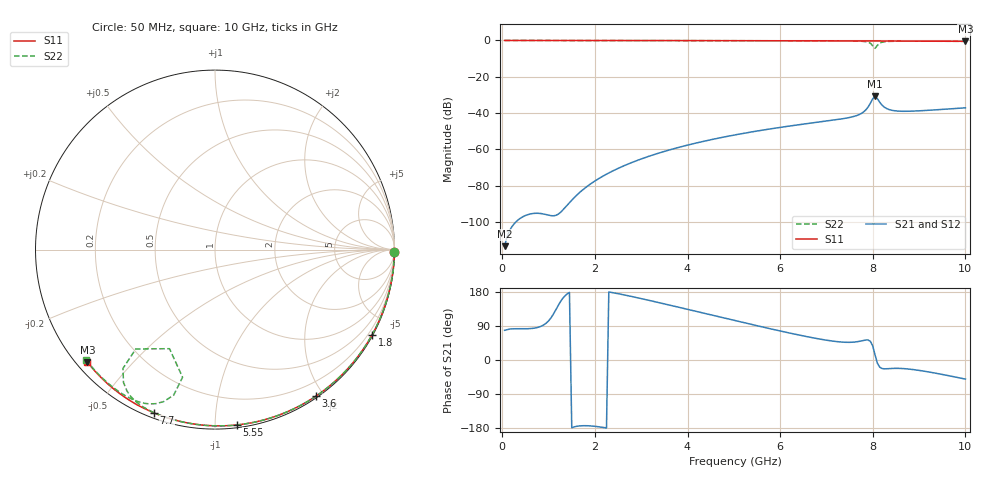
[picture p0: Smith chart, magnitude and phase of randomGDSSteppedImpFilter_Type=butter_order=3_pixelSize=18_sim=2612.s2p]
! freq	dB(S11)	phase(S11)	dB(S12)	phase(S12)
!  dB(S21)	phase(S21)	dB(S22)	phase(S22)
!S-par simulation data
#  GHz  S  DB  R 50
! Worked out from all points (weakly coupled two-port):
!   200 points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, 50 MHz to 10 GHz, reference 50 ohm
!   highest |S21| = -30.87 dB at 8.05 GHz (marker M1); lowest = -113.3 dB at 50 MHz (marker M2)
!   lowest |S11| = -0.5 dB at 10 GHz (marker M3), VSWR 37.08, Z = 1.54 - j18.9 ohm
!   |S11| at or under -10 dB: nowhere
!   |S22| runs from -4.3 to 0.0 dB; largest |S21 - S12| = 0
!   S11 on the Smith chart (normalised r, x): 50 MHz: open; 1.8 GHz: 0.03, -3.95; 3.6 GHz: 0.02, -1.90; 5.55 GHz: 0.02, -1.13; 7.7 GHz: 0.02, -0.69; 10 GHz: 0.03, -0.38
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0.05  -0.00 -0.8  -113.31 78.4  -113.31 78.4  -0.00 -0.8
1.75  -0.04 -27.7  -82.01 -173.3  -82.01 -173.3  -0.04 -28.1
1.8  -0.04 -28.4  -81.00 -173.3  -81.00 -173.3  -0.04 -28.9
1.85  -0.04 -29.2  -80.04 -173.5  -80.04 -173.5  -0.04 -29.7
2.55  -0.05 -39.9  -69.88 173.8  -69.88 173.8  -0.05 -40.6
3.4  -0.07 -52.6  -61.87 150.9  -61.87 150.9  -0.07 -53.5
3.6  -0.07 -55.5  -60.36 145.2  -60.36 145.2  -0.08 -56.5
5.05  -0.12 -76.0  -51.90 103.2  -51.90 103.2  -0.12 -77.5
5.55  -0.14 -82.8  -49.68 89.0  -49.68 89.0  -0.14 -84.5
6.7  -0.19 -97.9  -45.40 58.7  -45.40 58.7  -0.20 -100.4
7.4  -0.23 -106.8  -42.90 46.8  -42.90 46.8  -0.27 -110.8
7.7  -0.26 -110.6  -40.89 49.0  -40.89 49.0  -0.38 -116.8
7.85  -0.27 -112.4  -38.25 52.9  -38.25 52.9  -0.65 -121.9
7.95  -0.28 -113.6  -34.51 49.0  -34.51 49.0  -1.55 -127.8
8  -0.28 -114.2  -32.08 36.8  -32.08 36.8  -3.00 -128.6
8.05  -0.28 -114.8  -30.87 13.1  -30.87 13.1  -4.33 -114.7
8.1  -0.28 -115.5  -32.08 -8.5  -32.08 -8.5  -2.69 -104.2
8.15  -0.28 -116.1  -34.03 -18.8  -34.03 -18.8  -1.48 -105.9
8.25  -0.29 -117.3  -36.73 -23.3  -36.73 -23.3  -0.72 -111.1
8.35  -0.30 -118.6  -38.04 -22.8  -38.04 -22.8  -0.52 -114.5
8.75  -0.34 -123.5  -39.01 -23.5  -39.01 -23.5  -0.40 -122.5
10  -0.47 -138.6  -37.11 -50.4  -37.11 -50.4  -0.49 -139.4
